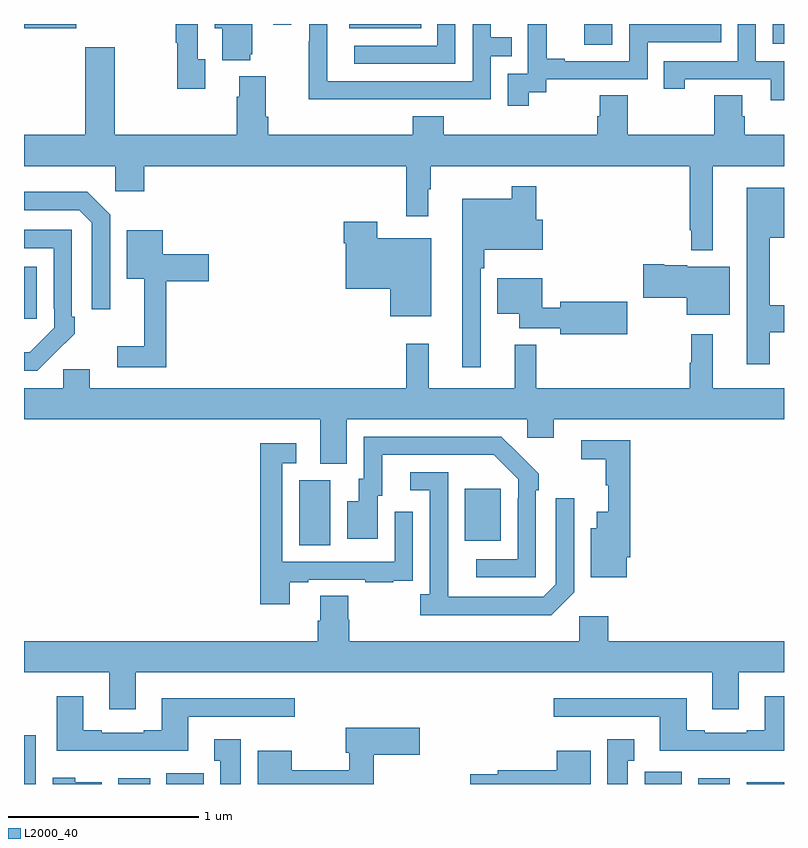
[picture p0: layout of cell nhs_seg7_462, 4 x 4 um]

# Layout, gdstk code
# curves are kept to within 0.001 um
import gdstk
lib = gdstk.Library(unit=1e-6, precision=1e-09)
def R(c, l, rs):  # rectangles x0, y0, x1, y1
    for r in rs: c.add(gdstk.rectangle(r[:2], r[2:], *l))
def P(c, l, *ps):  # polygons
    for p in ps: c.add(gdstk.Polygon(p, *l))
L2000_40 = (2000, 40)

nhs_seg7_462 = lib.new_cell('nhs_seg7_462')
R(nhs_seg7_462, L2000_40, [(147,1028,147.061,1028.257), (147.497,1028,147.664,1028.029), (147.749,1028,147.946,1028.056), (150.267,1028,150.463,1028.064), (150.548,1028,150.715,1028.029), (150.803,1028,151,1028.008), (148.448,1029.256,148.612,1029.6), (149.321,1029.281,149.509,1029.555), (147,1030.449,147.067,1030.723), (149.949,1031.892,150.096,1032), (150.942,1031.895,151,1032), (147,1031.978,147.274,1032), (148.712,1031.978,149.09,1032), (148.311,1031.997,148.407,1032)])
P(nhs_seg7_462, L2000_40, [(151,1031.805),(150.852,1031.805),(150.852,1032),(150.756,1032),(150.756,1031.805),(150.367,1031.805),(150.367,1031.658),(150.478,1031.658),(150.478,1031.709),(150.929,1031.709),(150.929,1031.598),(151,1031.598)],
  [(148.961,1031.604),(149.457,1031.604),(149.457,1031.829),(149.567,1031.829),(149.567,1031.93),(149.457,1031.93),(149.457,1032),(149.361,1032),(149.361,1031.7),(148.596,1031.7),(148.596,1032),(148.5,1032),(148.5,1031.909),(148.498,1031.909),(148.498,1031.603),(148.961,1031.603)],
  [(147.955,1031.814),(147.915,1031.814),(147.915,1032),(147.799,1032),(147.799,1031.902),(147.807,1031.902),(147.807,1031.658),(147.955,1031.658)],
  [(148.19,1031.841),(148.201,1031.841),(148.201,1032),(148.004,1032),(148.004,1031.978),(148.043,1031.978),(148.043,1031.81),(148.19,1031.81)],
  [(149.271,1032),(149.175,1032),(149.175,1031.886),(148.737,1031.886),(148.737,1031.79),(149.271,1031.79)],
  [(149.656,1031.641),(149.748,1031.641),(149.748,1031.709),(150.282,1031.709),(150.282,1031.904),(150.671,1031.904),(150.671,1032),(150.186,1032),(150.186,1031.805),(149.845,1031.805),(149.845,1031.818),(149.75,1031.818),(149.75,1032),(149.651,1032),(149.651,1031.969),(149.652,1031.969),(149.652,1031.739),(149.547,1031.739),(149.547,1031.571),(149.656,1031.571)],
  [(150.625,1031.252),(151,1031.252),(151,1031.416),(150.794,1031.416),(150.794,1031.514),(150.781,1031.514),(150.781,1031.624),(150.634,1031.624),(150.634,1031.416),(150.177,1031.416),(150.177,1031.624),(150.029,1031.624),(150.029,1031.514),(150.017,1031.514),(150.017,1031.416),(149.21,1031.416),(149.21,1031.515),(149.045,1031.515),(149.045,1031.416),(148.286,1031.416),(148.286,1031.512),(148.273,1031.512),(148.273,1031.725),(148.133,1031.725),(148.133,1031.618),(148.121,1031.618),(148.121,1031.416),(147.477,1031.416),(147.477,1031.878),(147.322,1031.878),(147.322,1031.416),(147,1031.416),(147,1031.252),(147.48,1031.252),(147.48,1031.121),(147.632,1031.121),(147.632,1031.252),(149.011,1031.252),(149.011,1030.989),(149.128,1030.989),(149.128,1031.129),(149.14,1031.129),(149.14,1031.252),(150.504,1031.252),(150.504,1030.915),(150.511,1030.915),(150.511,1030.808),(150.625,1030.808)],
  [(149.403,1030.715),(149.423,1030.715),(149.423,1030.811),(149.731,1030.811),(149.731,1030.969),(149.696,1030.969),(149.696,1031.146),(149.568,1031.146),(149.568,1031.08),(149.306,1031.08),(149.306,1030.194),(149.403,1030.194)],
  [(150.925,1030.378),(151,1030.378),(151,1030.52),(150.925,1030.52),(150.925,1030.874),(151,1030.874),(151,1031.137),(150.803,1031.137),(150.803,1030.209),(150.925,1030.209)],
  [(147.453,1030.995),(147.332,1031.116),(147,1031.116),(147,1031.019),(147.291,1031.019),(147.357,1030.953),(147.357,1030.5),(147.453,1030.5)],
  [(149.143,1030.873),(148.86,1030.873),(148.86,1030.96),(148.682,1030.96),(148.682,1030.847),(148.694,1030.847),(148.694,1030.607),(148.928,1030.607),(148.928,1030.463),(149.143,1030.463)],
  [(147.161,1030.267),(147.162,1030.266),(147.267,1030.371),(147.267,1030.459),(147.252,1030.459),(147.252,1030.917),(147,1030.917),(147,1030.821),(147.156,1030.821),(147.156,1030.501),(147.159,1030.501),(147.159,1030.401),(147.031,1030.273),(147,1030.273),(147,1030.176),(147.07,1030.176)],
  [(147.749,1030.646),(147.973,1030.646),(147.973,1030.788),(147.73,1030.788),(147.73,1030.915),(147.542,1030.915),(147.542,1030.658),(147.632,1030.658),(147.632,1030.303),(147.492,1030.303),(147.492,1030.194),(147.749,1030.194)],
  [(150.715,1030.723),(150.492,1030.723),(150.492,1030.729),(150.37,1030.729),(150.37,1030.736),(150.258,1030.736),(150.258,1030.558),(150.488,1030.558),(150.488,1030.469),(150.715,1030.469)],
  [(150.175,1030.538),(149.822,1030.538),(149.822,1030.507),(149.728,1030.507),(149.728,1030.663),(149.492,1030.663),(149.492,1030.475),(149.606,1030.475),(149.606,1030.398),(149.822,1030.398),(149.822,1030.367),(150.175,1030.367)],
  [(148.699,1029.92),(149.649,1029.92),(149.649,1029.822),(149.788,1029.822),(149.788,1029.92),(151,1029.92),(151,1030.084),(150.625,1030.084),(150.625,1030.366),(150.511,1030.366),(150.511,1030.217),(150.504,1030.217),(150.504,1030.084),(149.695,1030.084),(149.695,1030.313),(149.582,1030.313),(149.582,1030.084),(149.129,1030.084),(149.129,1030.318),(149.011,1030.318),(149.011,1030.084),(147.346,1030.084),(147.346,1030.182),(147.207,1030.182),(147.207,1030.084),(147,1030.084),(147,1029.92),(148.559,1029.92),(148.559,1029.685),(148.699,1029.685)],
  [(149.694,1029.545),(149.709,1029.545),(149.709,1029.633),(149.512,1029.828),(148.788,1029.828),(148.788,1029.606),(148.763,1029.606),(148.763,1029.487),(148.7,1029.487),(148.7,1029.291),(148.861,1029.291),(148.861,1029.516),(148.885,1029.516),(148.885,1029.732),(149.473,1029.732),(149.601,1029.603),(149.601,1029.503),(149.598,1029.503),(149.598,1029.183),(149.379,1029.183),(149.379,1029.087),(149.694,1029.087)],
  [(150.172,1029.193),(150.191,1029.193),(150.191,1029.81),(149.934,1029.81),(149.934,1029.709),(150.063,1029.709),(150.063,1029.573),(150.074,1029.573),(150.074,1029.433),(150.014,1029.433),(150.014,1029.346),(149.984,1029.346),(149.984,1029.089),(150.172,1029.089)],
  [(148.399,1029.063),(148.495,1029.063),(148.495,1029.075),(148.795,1029.075),(148.795,1029.063),(148.943,1029.063),(148.943,1029.069),(149.045,1029.069),(149.045,1029.178),(149.046,1029.178),(149.046,1029.433),(148.95,1029.433),(148.95,1029.171),(148.359,1029.171),(148.359,1029.687),(148.432,1029.687),(148.432,1029.793),(148.243,1029.793),(148.243,1028.946),(148.399,1028.946)],
  [(149.895,1029.009),(149.895,1029.505),(149.799,1029.505),(149.799,1029.051),(149.733,1028.985),(149.233,1028.985),(149.232,1029.642),(149.034,1029.642),(149.034,1029.546),(149.136,1029.546),(149.136,1028.998),(149.085,1028.998),(149.085,1028.888),(149.774,1028.888)],
  [(150.623,1028.394),(150.763,1028.394),(150.763,1028.588),(151,1028.588),(151,1028.752),(150.074,1028.752),(150.074,1028.884),(149.922,1028.884),(149.922,1028.752),(148.712,1028.752),(148.712,1028.865),(148.707,1028.865),(148.707,1028.99),(148.559,1028.99),(148.559,1028.858),(148.547,1028.858),(148.547,1028.752),(147,1028.752),(147,1028.588),(147.449,1028.588),(147.449,1028.394),(147.589,1028.394),(147.589,1028.588),(150.623,1028.588)],
  [(147.865,1028.355),(148.426,1028.355),(148.426,1028.452),(147.725,1028.452),(147.725,1028.284),(147.629,1028.284),(147.629,1028.271),(147.409,1028.271),(147.409,1028.284),(147.313,1028.284),(147.313,1028.461),(147.173,1028.461),(147.173,1028.174),(147.865,1028.174)],
  [(151,1028.461),(150.899,1028.461),(150.899,1028.284),(150.803,1028.284),(150.803,1028.271),(150.583,1028.271),(150.583,1028.284),(150.487,1028.284),(150.487,1028.452),(149.787,1028.452),(149.787,1028.355),(150.347,1028.355),(150.347,1028.174),(151,1028.174)],
  [(148.841,1028.153),(149.083,1028.153),(149.083,1028.295),(148.694,1028.295),(148.694,1028.165),(148.713,1028.165),(148.713,1028.072),(148.408,1028.072),(148.408,1028.176),(148.229,1028.176),(148.229,1028),(148.841,1028)],
  [(150.178,1028.123),(150.211,1028.123),(150.211,1028.236),(150.071,1028.236),(150.071,1028),(150.178,1028)],
  [(148.141,1028.236),(148.001,1028.236),(148.001,1028.123),(148.034,1028.123),(148.034,1028),(148.141,1028)],
  [(149.983,1028.176),(149.804,1028.176),(149.804,1028.072),(149.494,1028.072),(149.494,1028.052),(149.348,1028.052),(149.348,1028),(149.983,1028)],
  [(147.409,1028.008),(147.27,1028.008),(147.27,1028.032),(147.152,1028.032),(147.152,1028),(147.409,1028)])

lib.write_gds('nhs_seg7_462.gds')
